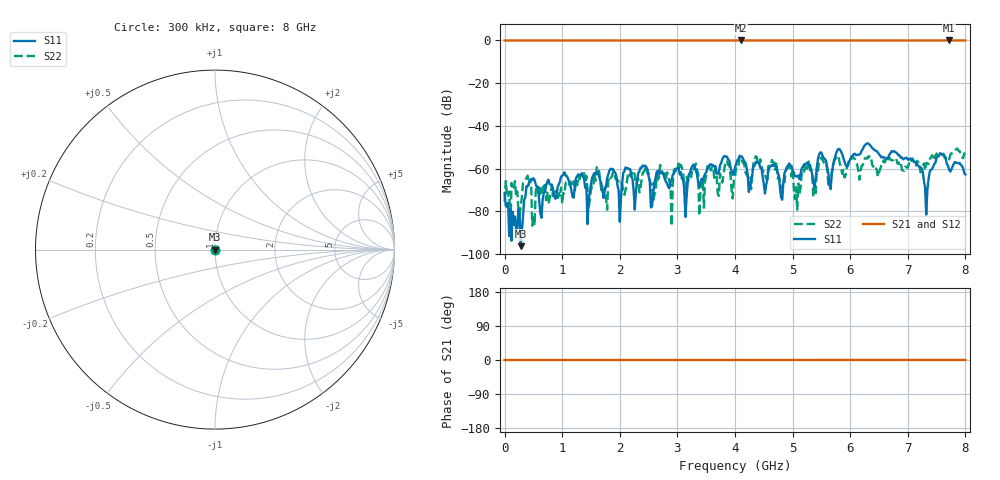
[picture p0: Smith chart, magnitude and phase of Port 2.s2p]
! RsaToolbox (C) 2014 Rohde & Schwarz America
! Number of points: 401
! Number of ports: 2
! Balanced ports?: No
# Hz S RI R 50
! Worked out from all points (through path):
!   401 points, 300 kHz to 8 GHz, reference 50 ohm
!   highest |S21| = 0.01 dB at 7.72 GHz (marker M1); lowest = 0.0 dB at 4.1 GHz (marker M2)
!   lowest |S11| = -96.3 dB at 280.3 MHz (marker M3), VSWR 1.00, Z = 50 + j0.000427 ohm
!   |S11| at or under -10 dB: start of sweep to end of sweep
!   |S22| runs from -88.9 to -50.6 dB; largest |S21 - S12| = 0
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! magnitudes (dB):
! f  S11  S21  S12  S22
! 300 kHz  -71.3  0.0  0.0  -75.3
! 280.3 MHz  -96.3  0.0  0.0  -77.8
! 360.3 MHz  -73.4  0.0  0.0  -65.1
! 480.3 MHz  -65.4  0.0  0.0  -86.7
! 640.3 MHz  -83.0  0.0  0.0  -71.5
! 1.34 GHz  -62.1  0.0  0.0  -63.4
! 2 GHz  -84.9  0.0  0.0  -67.6
! 2.42 GHz  -59.0  0.0  0.0  -61.6
! 2.56 GHz  -77.6  0.0  0.0  -67.1
! 2.68 GHz  -62.8  0.0  0.0  -64.3
! 3.14 GHz  -82.6  0.0  0.0  -77.9
! 3.26 GHz  -58.8  0.0  0.0  -59.7
! 3.42 GHz  -64.8  0.0  0.0  -66.1
! 4 GHz  -59.4  0.0  0.0  -63.8
! 4.1 GHz  -54.3  0.0  0.0  -54.9
! 4.26 GHz  -68.4  0.0  0.0  -65.6
! 5.34 GHz  -62.6  0.0  0.0  -62.4
! 6.68 GHz  -53.5  0.0  0.0  -54.9
! 7.32 GHz  -81.6  0.0  0.0  -57.3
! 7.54 GHz  -54.2  0.0  0.0  -53.0
! 7.72 GHz  -60.8  0.0  0.0  -55.6
! 8 GHz  -62.7  0.0  0.0  -52.7
